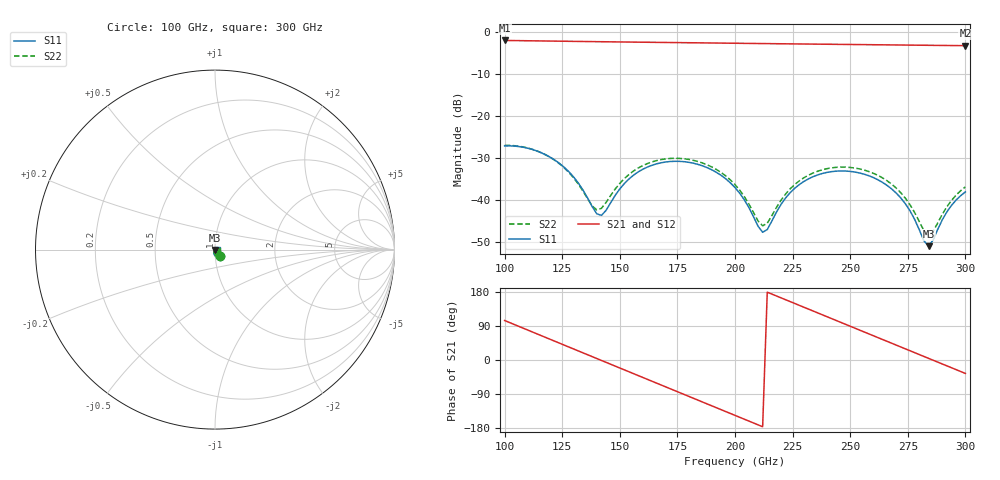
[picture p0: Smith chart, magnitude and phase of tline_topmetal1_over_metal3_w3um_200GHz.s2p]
#  GHZ S DB R 50
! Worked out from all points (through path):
!   101 points, 100 GHz to 300 GHz, reference 50 ohm
!   highest |S21| = -1.94 dB at 100 GHz (marker M1); lowest = -3.2 dB at 300 GHz (marker M2)
!   group delay of S21, straight-line fit = 6.94 ps
!   lowest |S11| = -51.1 dB at 284 GHz (marker M3), VSWR 1.01, Z = 50.1 - j0.243 ohm
!   |S11| at or under -10 dB: start of sweep to end of sweep
!   |S22| runs from -48.5 to -27.0 dB; largest |S21 - S12| = 1.4e-13
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100  -27.12 -52.1  -1.94 104.2  -1.94 104.2  -27.01 -52.2
108  -27.43 -68.8  -2.00 84.2  -2.00 84.2  -27.36 -68.6
116  -28.77 -85.0  -2.06 64.1  -2.06 64.1  -28.77 -84.5
126  -32.29 -102.5  -2.13 39.0  -2.13 39.0  -32.42 -100.7
134  -37.64 -106.8  -2.19 18.9  -2.19 18.9  -37.90 -101.1
138  -41.60 -94.5  -2.21 8.9  -2.21 8.9  -41.43 -83.7
142  -43.72 -57.6  -2.24 -1.1  -2.24 -1.1  -42.03 -48.2
154  -35.00 -23.4  -2.32 -31.1  -2.32 -31.1  -33.93 -25.1
168  -31.14 -46.7  -2.41 -66.1  -2.41 -66.1  -30.38 -48.4
184  -31.54 -79.5  -2.51 -106.1  -2.51 -106.1  -30.86 -80.9
200  -37.07 -107.5  -2.61 -146.1  -2.61 -146.1  -36.36 -108.0
212  -47.74 -68.2  -2.68 -176.1  -2.68 -176.1  -46.20 -68.5
214  -47.09 -43.8  -2.69 178.9  -2.69 178.9  -45.57 -46.8
224  -38.26 -18.9  -2.75 154.0  -2.75 154.0  -37.35 -22.6
234  -34.44 -34.4  -2.81 129.0  -2.81 129.0  -33.56 -37.5
250  -33.21 -67.3  -2.90 89.1  -2.90 89.1  -32.26 -69.9
258  -34.23 -84.0  -2.95 69.2  -2.95 69.2  -33.22 -86.3
268  -37.40 -102.9  -3.00 44.2  -3.00 44.2  -36.25 -104.5
276  -42.66 -110.8  -3.05 24.3  -3.05 24.3  -41.20 -111.3
284  -51.06 -59.9  -3.10 4.4  -3.10 4.4  -48.47 -66.9
292  -42.85 -12.7  -3.14 -15.5  -3.14 -15.5  -41.62 -20.6
300  -38.11 -21.0  -3.18 -35.5  -3.18 -35.5  -36.90 -27.1
